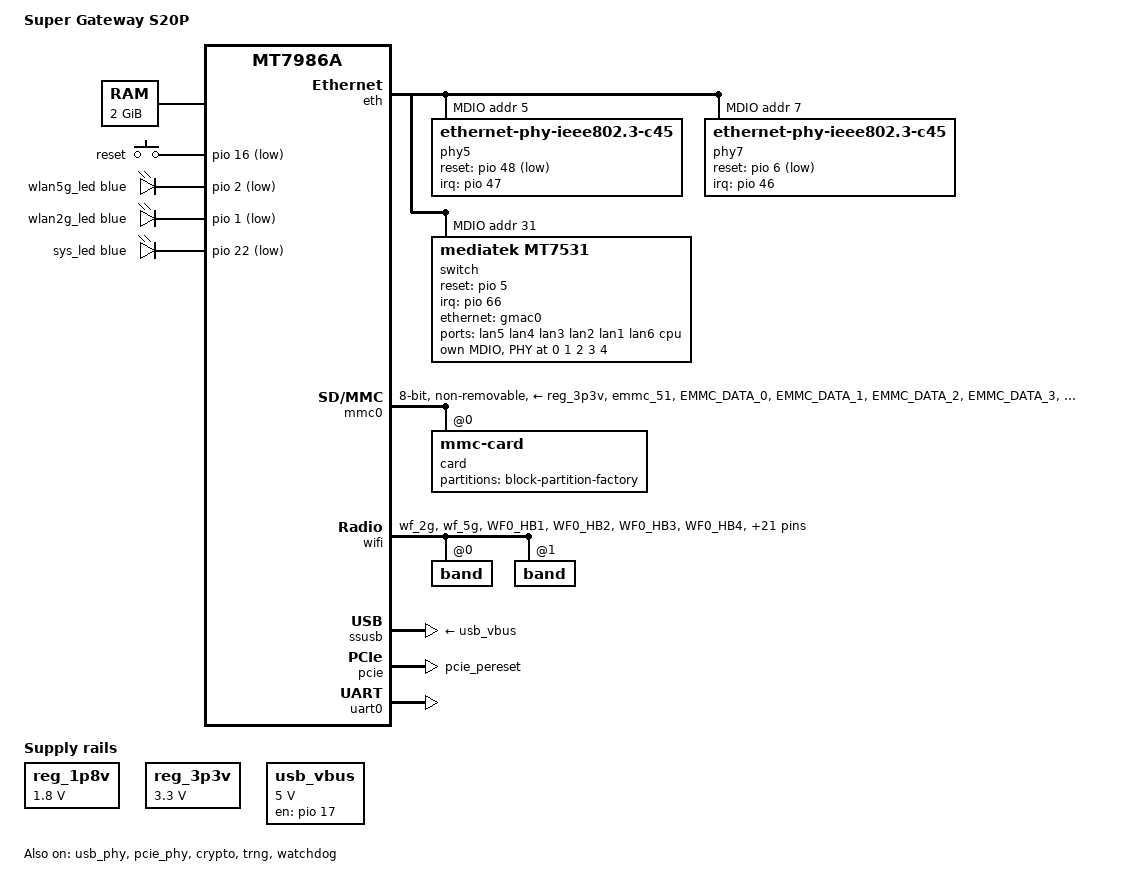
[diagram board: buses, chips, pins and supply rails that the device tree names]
// SPDX-License-Identifier: GPL-2.0-or-later OR MIT

/dts-v1/;
#include <dt-bindings/gpio/gpio.h>
#include <dt-bindings/input/input.h>
#include <dt-bindings/leds/common.h>

#include "mt7986a.dtsi"

/ {
	model = "Super Gateway S20P";
	compatible = "supergateway,s20p", "mediatek,mt7986a";

	aliases {
		serial0 = &uart0;
		label-mac-device = &gmac1;
		led-boot = &sys_led;
		led-failsafe = &sys_led;
		led-running = &sys_led;
		led-upgrade = &sys_led;
	};

	chosen {
		stdout-path = "serial0:115200n8";
		bootargs-append = " root=PARTLABEL=rootfs rootwait";
	};

	memory {
		reg = <0 0x40000000 0 0x80000000>;
	};

	gpio-keys {
		compatible = "gpio-keys";

		button-reset {
			label = "reset";
			linux,code = <KEY_RESTART>;
			gpios = <&pio 16 GPIO_ACTIVE_LOW>;
		};
	};

	gpio-leds {
		compatible = "gpio-leds";

		wlan5g_led: wlan5g-led {
			color = <LED_COLOR_ID_BLUE>;
			function = LED_FUNCTION_WLAN_5GHZ;
			gpios = <&pio 2 GPIO_ACTIVE_LOW>;
		};

		wlan2g_led: wlan2g-led {
			color = <LED_COLOR_ID_BLUE>;
			function = LED_FUNCTION_WLAN_2GHZ;
			gpios = <&pio 1 GPIO_ACTIVE_LOW>;
		};

		sys_led: sys-led {
			color = <LED_COLOR_ID_BLUE>;
			function = LED_FUNCTION_STATUS;
			gpios = <&pio 22 GPIO_ACTIVE_LOW>;
		};
	};

	reg_1p8v: regulator-1p8v {
		compatible = "regulator-fixed";
		regulator-name = "fixed-1.8V";
		regulator-min-microvolt = <1800000>;
		regulator-max-microvolt = <1800000>;
		regulator-boot-on;
		regulator-always-on;
	};

	reg_3p3v: regulator-3p3v {
		compatible = "regulator-fixed";
		regulator-name = "fixed-3.3V";
		regulator-min-microvolt = <3300000>;
		regulator-max-microvolt = <3300000>;
		regulator-boot-on;
		regulator-always-on;
	};

	usb_vbus: regulator-usb-vbus {
		compatible = "regulator-fixed";
		regulator-name = "usb_vbus";
		regulator-min-microvolt = <5000000>;
		regulator-max-microvolt = <5000000>;
		gpios = <&pio 17 GPIO_ACTIVE_HIGH>;
		enable-active-high;
		regulator-boot-on;
	};
};

&eth {
	status = "okay";

	gmac0: mac@0 {
		compatible = "mediatek,eth-mac";
		reg = <0>;
		phy-mode = "2500base-x";
		nvmem-cells = <&macaddr_factory_2a 0>;
		nvmem-cell-names = "mac-address";

		fixed-link {
			speed = <2500>;
			full-duplex;
			pause;
		};
	};

	gmac1: mac@1 {
		compatible = "mediatek,eth-mac";
		reg = <1>;
		nvmem-cells = <&macaddr_factory_24 0>;
		nvmem-cell-names = "mac-address";
		phy-mode = "2500base-x";
		phy-handle = <&phy7>;
	};

	mdio: mdio-bus {
		#address-cells = <1>;
		#size-cells = <0>;

		phy5: ethernet-phy@5 {
			compatible = "ethernet-phy-ieee802.3-c45";
			reg = <5>;
			reset-assert-us = <100000>;
			reset-deassert-us = <100000>;
			reset-gpios = <&pio 48 GPIO_ACTIVE_LOW>;
			interrupt-parent = <&pio>;
			interrupts = <47 IRQ_TYPE_LEVEL_LOW>;
			realtek,aldps-enable;
			realtek,led-link-select = <0xa7 0xa4 0x0>; /* led0 at 10/100/1000/2.5G/(2.5G lite), led1 at 1000/2.5G/(2.5G lite) */
			realtek,led-act-select = <0x001b>;
			/*realtek,led-polarity-select = <0x0018>; */
		};

		phy7: ethernet-phy@7 {
			compatible = "ethernet-phy-ieee802.3-c45";
			reg = <7>;
			reset-assert-us = <100000>;
			reset-deassert-us = <100000>;
			reset-gpios = <&pio 6 GPIO_ACTIVE_LOW>;
			interrupt-parent = <&pio>;
			interrupts = <46 IRQ_TYPE_LEVEL_LOW>;
			realtek,aldps-enable;
			realtek,led-link-select = <0xa7 0xa4 0x0>; /* led0 at 10/100/1000/2.5G/(2.5G lite), led1 at 1000/2.5G/(2.5G lite) */
			realtek,led-act-select = <0x001b>;
			/*realtek,led-polarity-select = <0x0018>; */
		};

		switch: switch@1f {
			compatible = "mediatek,mt7531";
			reg = <31>;
			reset-gpios = <&pio 5 GPIO_ACTIVE_HIGH>;
			interrupt-controller;
			#interrupt-cells = <1>;
			interrupt-parent = <&pio>;
			interrupts = <66 IRQ_TYPE_LEVEL_HIGH>;

			ports {
				#address-cells = <1>;
				#size-cells = <0>;

				port@0 {
					reg = <0>;
					label = "lan5";
					phy-handle = <&swphy0>;
				};

				port@1 {
					reg = <1>;
					label = "lan4";
					phy-handle = <&swphy1>;
				};

				port@2 {
					reg = <2>;
					label = "lan3";
					phy-handle = <&swphy2>;
				};

				port@3 {
					reg = <3>;
					label = "lan2";
					phy-handle = <&swphy3>;
				};

				port@4 {
					reg = <4>;
					label = "lan1";
					phy-handle = <&swphy4>;
				};

				port@5 {
					reg = <5>;
					label = "lan6";
					phy-mode = "2500base-x";
					phy-handle = <&phy5>;
				};

				port@6 {
					reg = <6>;
					label = "cpu";
					ethernet = <&gmac0>;
					phy-mode = "2500base-x";

					fixed-link {
						speed = <2500>;
						full-duplex;
						pause;
					};
				};
			};

			mdio {
				#address-cells = <1>;
				#size-cells = <0>;

				swphy0: phy@0 {
					reg = <0>;

					mediatek,led-config = <
						0x21 0x8009 /* BASIC_CTRL */
						0x22 0x0c00 /* ON_DURATION */
						0x23 0x1400 /* BLINK_DURATION */
						0x24 0xc001 /* LED0_ON_CTRL */
						0x25 0x0003 /* LED0_BLINK_CTRL */
						0x26 0xc004 /* LED1_ON_CTRL */
						0x27 0x0000 /* LED1_BLINK_CTRL */
					>;
				};

				swphy1: phy@1 {
					reg = <1>;

					mediatek,led-config = <
						0x21 0x8009 /* BASIC_CTRL */
						0x22 0x0c00 /* ON_DURATION */
						0x23 0x1400 /* BLINK_DURATION */
						0x24 0xc001 /* LED0_ON_CTRL */
						0x25 0x0003 /* LED0_BLINK_CTRL */
						0x26 0xc004 /* LED1_ON_CTRL */
						0x27 0x0000 /* LED1_BLINK_CTRL */
					>;
				};

				swphy2: phy@2 {
					reg = <2>;

					mediatek,led-config = <
						0x21 0x8009 /* BASIC_CTRL */
						0x22 0x0c00 /* ON_DURATION */
						0x23 0x1400 /* BLINK_DURATION */
						0x24 0xc001 /* LED0_ON_CTRL */
						0x25 0x0003 /* LED0_BLINK_CTRL */
						0x26 0xc004 /* LED1_ON_CTRL */
						0x27 0x0000 /* LED1_BLINK_CTRL */
					>;
				};

				swphy3: phy@3 {
					reg = <3>;

					mediatek,led-config = <
						0x21 0x8009 /* BASIC_CTRL */
						0x22 0x0c00 /* ON_DURATION */
						0x23 0x1400 /* BLINK_DURATION */
						0x24 0xc001 /* LED0_ON_CTRL */
						0x25 0x0003 /* LED0_BLINK_CTRL */
						0x26 0xc004 /* LED1_ON_CTRL */
						0x27 0x0000 /* LED1_BLINK_CTRL */
					>;
				};

				swphy4: phy@4 {
					reg = <4>;

					mediatek,led-config = <
						0x21 0x8009 /* BASIC_CTRL */
						0x22 0x0c00 /* ON_DURATION */
						0x23 0x1400 /* BLINK_DURATION */
						0x24 0xc001 /* LED0_ON_CTRL */
						0x25 0x0003 /* LED0_BLINK_CTRL */
						0x26 0xc004 /* LED1_ON_CTRL */
						0x27 0x0000 /* LED1_BLINK_CTRL */
					>;
				};
			};
		};
	};
};

&mmc0 {
	pinctrl-names = "default", "state_uhs";
	pinctrl-0 = <&mmc0_pins_default>;
	pinctrl-1 = <&mmc0_pins_uhs>;
	bus-width = <8>;
	max-frequency = <200000000>;
	cap-mmc-highspeed;
	mmc-hs200-1_8v;
	mmc-hs400-1_8v;
	hs400-ds-delay = <0x14014>;
	vmmc-supply = <&reg_3p3v>;
	vqmmc-supply = <&reg_1p8v>;
	non-removable;
	no-sd;
	no-sdio;
	status = "okay";

	card@0 {
		compatible = "mmc-card";
		reg = <0>;

		block {
			compatible = "block-device";

			partitions {
				block-partition-factory {
					partname = "factory";

					nvmem-layout {
						compatible = "fixed-layout";
						#address-cells = <1>;
						#size-cells = <1>;

						eeprom_factory_0: eeprom@0 {
							reg = <0x0 0x1000>;
						};

						macaddr_factory_4: macaddr@4 {
							compatible = "mac-base";
							reg = <0x4 0x6>;
							#nvmem-cell-cells = <1>;
						};

						macaddr_factory_24: macaddr@24 {
							compatible = "mac-base";
							reg = <0x24 0x6>;
							#nvmem-cell-cells = <1>;
						};

						macaddr_factory_2a: macaddr@2a {
							compatible = "mac-base";
							reg = <0x2a 0x6>;
							#nvmem-cell-cells = <1>;
						};

						macaddr_factory_30: macaddr@30 {
							compatible = "mac-base";
							reg = <0x30 0x6>;
							#nvmem-cell-cells = <1>;
						};
					};
				};
			};
		};
	};
};

&pio {
	mmc0_pins_default: mmc0-pins {
		mux {
			function = "emmc";
			groups = "emmc_51";
		};

		conf-cmd-dat {
			pins = "EMMC_DATA_0", "EMMC_DATA_1", "EMMC_DATA_2",
			       "EMMC_DATA_3", "EMMC_DATA_4", "EMMC_DATA_5",
			       "EMMC_DATA_6", "EMMC_DATA_7", "EMMC_CMD";
			input-enable;
			drive-strength = <4>;
			mediatek,pull-up-adv = <1>;	/* pull-up 10K */
		};

		conf-clk {
			pins = "EMMC_CK";
			drive-strength = <6>;
			mediatek,pull-down-adv = <2>;	/* pull-down 50K */
		};

		conf-ds {
			pins = "EMMC_DSL";
			mediatek,pull-down-adv = <2>;	/* pull-down 50K */
		};

		conf-rst {
			pins = "EMMC_RSTB";
			drive-strength = <4>;
			mediatek,pull-up-adv = <1>;	/* pull-up 10K */
		};
	};

	mmc0_pins_uhs: mmc0-uhs-pins {
		mux {
			function = "emmc";
			groups = "emmc_51";
		};

		conf-cmd-dat {
			pins = "EMMC_DATA_0", "EMMC_DATA_1", "EMMC_DATA_2",
			       "EMMC_DATA_3", "EMMC_DATA_4", "EMMC_DATA_5",
			       "EMMC_DATA_6", "EMMC_DATA_7", "EMMC_CMD";
			input-enable;
			drive-strength = <4>;
			mediatek,pull-up-adv = <1>;	/* pull-up 10K */
		};

		conf-clk {
			pins = "EMMC_CK";
			drive-strength = <6>;
			mediatek,pull-down-adv = <2>;	/* pull-down 50K */
		};

		conf-ds {
			pins = "EMMC_DSL";
			mediatek,pull-down-adv = <2>;	/* pull-down 50K */
		};

		conf-rst {
			pins = "EMMC_RSTB";
			drive-strength = <4>;
			mediatek,pull-up-adv = <1>;	/* pull-up 10K */
		};
	};

	pcie_pins: pcie-pins {
		mux {
			function = "pcie";
			groups = "pcie_pereset";
		};
	};

	wf_2g_5g_pins: wf_2g_5g-pins {
		mux {
			function = "wifi";
			groups = "wf_2g", "wf_5g";
		};
		conf {
			pins = "WF0_HB1", "WF0_HB2", "WF0_HB3", "WF0_HB4",
			       "WF0_HB0", "WF0_HB0_B", "WF0_HB5", "WF0_HB6",
			       "WF0_HB7", "WF0_HB8", "WF0_HB9", "WF0_HB10",
			       "WF0_TOP_CLK", "WF0_TOP_DATA", "WF1_HB1",
			       "WF1_HB2", "WF1_HB3", "WF1_HB4", "WF1_HB0",
			       "WF1_HB5", "WF1_HB6", "WF1_HB7", "WF1_HB8",
			       "WF1_TOP_CLK", "WF1_TOP_DATA";
			drive-strength = <4>;
		};
	};

	wf_dbdc_pins: wf-dbdc-pins {
		mux {
			function = "wifi";
			groups = "wf_dbdc";
		};
		conf {
			pins = "WF0_HB1", "WF0_HB2", "WF0_HB3", "WF0_HB4",
				"WF0_HB0", "WF0_HB0_B", "WF0_HB5", "WF0_HB6",
				"WF0_HB7", "WF0_HB8", "WF0_HB9", "WF0_HB10",
				"WF0_TOP_CLK", "WF0_TOP_DATA", "WF1_HB1",
				"WF1_HB2", "WF1_HB3", "WF1_HB4", "WF1_HB0",
				"WF1_HB5", "WF1_HB6", "WF1_HB7", "WF1_HB8",
				"WF1_TOP_CLK", "WF1_TOP_DATA";
			drive-strength = <4>;
		};
	};
};

&wifi {
	nvmem-cells = <&eeprom_factory_0>;
	nvmem-cell-names = "eeprom";
	pinctrl-names = "default", "dbdc";
	pinctrl-0 = <&wf_2g_5g_pins>;
	pinctrl-1 = <&wf_dbdc_pins>;
	status = "okay";

	band@0 {
		reg = <0>;
		nvmem-cells = <&macaddr_factory_4 0>;
		nvmem-cell-names = "mac-address";

	};

	band@1 {
		reg = <1>;
		nvmem-cells = <&macaddr_factory_30 0>;
		nvmem-cell-names = "mac-address";
	};
};

&ssusb {
	vusb33-supply = <&reg_3p3v>;
	vbus-supply = <&usb_vbus>;
	status = "okay";
};

&pcie {
	pinctrl-names = "default";
	pinctrl-0 = <&pcie_pins>;
	status = "okay";
};

&usb_phy {
	status = "okay";
};

&pcie_phy {
	status = "okay";
};

&crypto {
	status = "okay";
};

&trng {
	status = "okay";
};

&uart0 {
	status = "okay";
};

&watchdog {
	status = "okay";
};
